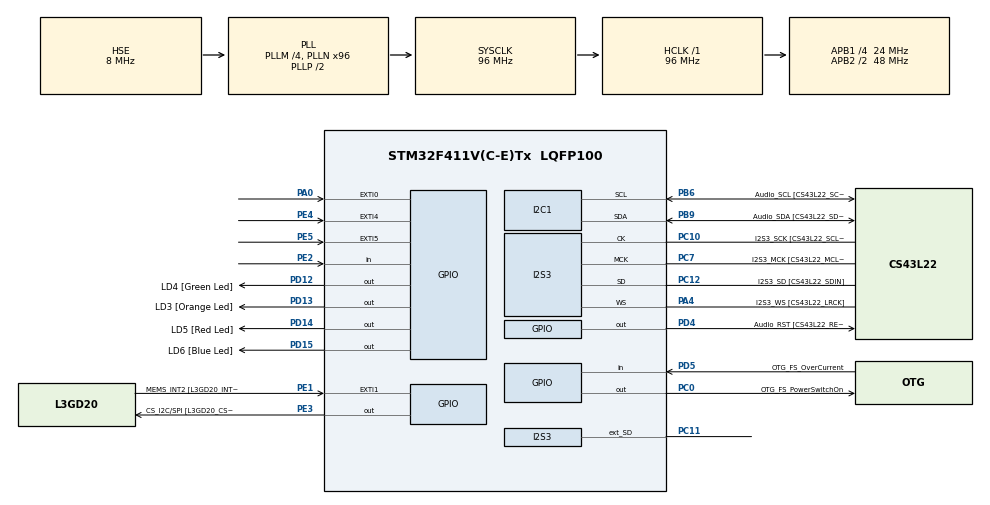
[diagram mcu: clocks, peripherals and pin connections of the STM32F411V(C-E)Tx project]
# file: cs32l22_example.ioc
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Dma.Request0=SPI3_TX
Dma.SPI3_TX.0.Direction=DMA_MEMORY_TO_PERIPH
Dma.SPI3_TX.0.FIFOMode=DMA_FIFOMODE_ENABLE
Dma.SPI3_TX.0.FIFOThreshold=DMA_FIFO_THRESHOLD_FULL
Dma.SPI3_TX.0.Instance=DMA1_Stream5
Dma.SPI3_TX.0.MemBurst=DMA_MBURST_SINGLE
Dma.SPI3_TX.0.MemDataAlignment=DMA_MDATAALIGN_HALFWORD
Dma.SPI3_TX.0.MemInc=DMA_MINC_ENABLE
Dma.SPI3_TX.0.Mode=DMA_CIRCULAR
Dma.SPI3_TX.0.PeriphBurst=DMA_PBURST_SINGLE
Dma.SPI3_TX.0.PeriphDataAlignment=DMA_PDATAALIGN_HALFWORD
Dma.SPI3_TX.0.PeriphInc=DMA_PINC_DISABLE
Dma.SPI3_TX.0.Priority=DMA_PRIORITY_LOW
I2S3.AudioFreq=I2S_AUDIOFREQ_48K
I2S3.ErrorAudioFreq=-2.34 %
I2S3.FullDuplexMode=I2S_FULLDUPLEXMODE_ENABLE
I2S3.Instance=SPI$Index
I2S3.RealAudioFreq=46.875 KHz
I2S3.VirtualMode=I2S_MODE_MASTER
Mcu.Family=STM32F4
Mcu.Name=STM32F411V(C-E)Tx
Mcu.Package=LQFP100
NVIC.DMA1_Stream5_IRQn=true\:0\:0\:false\:false\:true\:false\:true
NVIC.EXTI0_IRQn=true\:1\:0\:true\:false\:true\:true\:true
NVIC.FPU_IRQn=true\:0\:0\:false\:false\:true\:true\:false
NVIC.PriorityGroup=NVIC_PRIORITYGROUP_4
NVIC.TIM2_IRQn=true\:0\:0\:false\:false\:true\:true\:true
PA0-WKUP.Signal=GPXTI0
PA10.GPIO_Label=OTG_FS_ID
PA10.Signal=USB_OTG_FS_ID
PA11.GPIO_Label=OTG_FS_DM
PA11.Signal=USB_OTG_FS_DM
PA12.GPIO_Label=OTG_FS_DP
PA12.Signal=USB_OTG_FS_DP
PA13.GPIO_Label=SWDIO
PA13.Signal=SYS_JTMS-SWDIO
PA14.GPIO_Label=SWCLK
PA14.Signal=SYS_JTCK-SWCLK
PA4.GPIO_Label=I2S3_WS [CS43L22_LRCK]
PA4.GPIO_Mode=GPIO_MODE_AF_PP
PA4.GPIO_PuPd=GPIO_NOPULL
PA4.GPIO_Speed=GPIO_SPEED_FREQ_LOW
PA4.Mode=Full_Duplex_Master
PA4.Signal=I2S3_WS
PA5.GPIO_Label=SPI1_SCK [L3GD20_SC/SPC]
PA5.Signal=SPI1_SCK
PA6.GPIO_Label=SPI1_MISO [L3GD20_AS0/SDO]
PA6.Signal=SPI1_MISO
PA7.GPIO_Label=SPI1_MOSI [L3GD20_SDA/SDI/SDO]
PA7.Signal=SPI1_MOSI
PA9.GPIO_Label=VBUS_FS
PA9.Signal=USB_OTG_FS_VBUS
PB10.GPIO_Label=CLK_IN [MP45DT02_CLK]
PB10.Signal=I2S2_CK
PB12.Signal=I2S2_WS
PB3.GPIO_Label=SWO
PB3.Signal=SYS_JTDO-SWO
PB6.GPIO_Label=Audio_SCL [CS43L22_SCL]
PB6.GPIO_Mode=GPIO_MODE_AF_OD
PB6.GPIO_PuPd=GPIO_NOPULL
PB6.GPIO_Speed=GPIO_SPEED_FREQ_LOW
PB6.Mode=I2C
PB6.Signal=I2C1_SCL
PB9.GPIO_Label=Audio_SDA [CS43L22_SDA]
PB9.GPIO_Mode=GPIO_MODE_AF_OD
PB9.GPIO_PuPd=GPIO_NOPULL
PB9.GPIO_Speed=GPIO_SPEED_FREQ_LOW
PB9.Mode=I2C
PB9.Signal=I2C1_SDA
PC0.GPIO_Label=OTG_FS_PowerSwitchOn
PC0.PinState=GPIO_PIN_SET
PC0.Signal=GPIO_Output
PC10.GPIO_Label=I2S3_SCK [CS43L22_SCLK]
PC10.GPIO_Mode=GPIO_MODE_AF_PP
PC10.GPIO_PuPd=GPIO_NOPULL
PC10.GPIO_Speed=GPIO_SPEED_FREQ_LOW
PC10.Mode=Full_Duplex_Master
PC10.Signal=I2S3_CK
PC11.Mode=Full_Duplex_Master
PC11.Signal=I2S3_ext_SD
PC12.GPIO_Label=I2S3_SD [CS43L22_SDIN]
PC12.GPIO_Mode=GPIO_MODE_AF_PP
PC12.GPIO_PuPd=GPIO_NOPULL
PC12.GPIO_Speed=GPIO_SPEED_FREQ_LOW
PC12.Mode=Full_Duplex_Master
PC12.Signal=I2S3_SD
PC14-OSC32_IN.GPIO_Label=PC14-OSC32_IN
PC14-OSC32_IN.Signal=RCC_OSC32_IN
PC15-OSC32_OUT.GPIO_Label=PC15-OSC32_OUT
PC15-OSC32_OUT.Signal=RCC_OSC32_OUT
PC3.GPIO_Label=PDM_OUT [MP45DT02_DOUT]
PC3.Signal=I2S2_SD
PC7.GPIO_Label=I2S3_MCK [CS43L22_MCLK]
PC7.GPIO_Mode=GPIO_MODE_AF_PP
PC7.GPIO_PuPd=GPIO_NOPULL
PC7.GPIO_Speed=GPIO_SPEED_FREQ_LOW
PC7.Mode=Master_Clock_Activated
PC7.Signal=I2S3_MCK
PD12.GPIO_Label=LD4 [Green Led]
PD12.GPIO_PuPd=GPIO_NOPULL
PD12.GPIO_Speed=GPIO_SPEED_FREQ_LOW
PD12.Signal=GPIO_Output
PD13.GPIO_Label=LD3 [Orange Led]
PD13.GPIO_PuPd=GPIO_NOPULL
PD13.GPIO_Speed=GPIO_SPEED_FREQ_LOW
PD13.Signal=GPIO_Output
PD14.GPIO_Label=LD5 [Red Led]
PD14.GPIO_PuPd=GPIO_NOPULL
PD14.GPIO_Speed=GPIO_SPEED_FREQ_LOW
PD14.Signal=GPIO_Output
PD15.GPIO_Label=LD6 [Blue Led]
PD15.GPIO_PuPd=GPIO_NOPULL
PD15.GPIO_Speed=GPIO_SPEED_FREQ_LOW
PD15.Signal=GPIO_Output
PD4.GPIO_Label=Audio_RST [CS43L22_RESET]
PD4.GPIO_PuPd=GPIO_PULLDOWN
PD4.GPIO_Speed=GPIO_SPEED_FREQ_MEDIUM
PD4.Signal=GPIO_Output
PD5.GPIO_Label=OTG_FS_OverCurrent
PD5.Signal=GPIO_Input
PE1.GPIO_Label=MEMS_INT2 [L3GD20_INT2]
PE1.GPIO_ModeDefaultEXTI=GPIO_MODE_EVT_RISING
PE1.Signal=GPXTI1
PE2.Signal=GPIO_Input
PE3.GPIO_Label=CS_I2C/SPI [L3GD20_CS_I2C/SPI]
PE3.Signal=GPIO_Output
PE4.GPIO_ModeDefaultEXTI=GPIO_MODE_EVT_RISING
PE4.Signal=GPXTI4
PE5.GPIO_ModeDefaultEXTI=GPIO_MODE_EVT_RISING
PE5.Signal=GPXTI5
PH0\ -\ OSC_IN.GPIO_Label=PH0-OSC_IN
PH0\ -\ OSC_IN.Mode=HSE-External-Oscillator
PH0\ -\ OSC_IN.Signal=RCC_OSC_IN
PH1\ -\ OSC_OUT.GPIO_Label=PH1-OSC_OUT
PH1\ -\ OSC_OUT.Mode=HSE-External-Oscillator
PH1\ -\ OSC_OUT.Signal=RCC_OSC_OUT
ProjectManager.HeapSize=0x200
ProjectManager.StackSize=0x400
ProjectManager.TargetToolchain=STM32CubeIDE
RCC.48MHZClocksFreq_Value=24000000
RCC.AHBFreq_Value=96000000
RCC.APB1CLKDivider=RCC_HCLK_DIV4
RCC.APB1Freq_Value=24000000
RCC.APB1TimFreq_Value=48000000
RCC.APB2CLKDivider=RCC_HCLK_DIV2
RCC.APB2Freq_Value=48000000
RCC.APB2TimFreq_Value=96000000
RCC.CortexFreq_Value=96000000
RCC.HCLKFreq_Value=96000000
RCC.HSE_VALUE=8000000
RCC.HSI_VALUE=16000000
RCC.LSE_VALUE=32768
RCC.PLLI2SM=4
RCC.PLLI2SN=168
RCC.PLLM=4
RCC.PLLN=96
RCC.PLLQ=8
RCC.PLLSourceVirtual=RCC_PLLSOURCE_HSE
RCC.SYSCLKFreq_VALUE=96000000
RCC.SYSCLKSource=RCC_SYSCLKSOURCE_PLLCLK
RCC.VCOOutputFreq_Value=192000000
TIM2.Period=500-1
TIM2.Prescaler=2-1
TIM2.TIM_MasterOutputTrigger=TIM_TRGO_UPDATE
VP_TIM2_VS_ClockSourceINT.Mode=Internal
board=STM32F411E-DISCO

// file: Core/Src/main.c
/* USER CODE BEGIN Header */
/**
  ******************************************************************************
  * @file           : main.c
  * @brief          : Main program body
  ******************************************************************************
  * @attention
  *
  * Copyright (c) 2022 STMicroelectronics.
  * All rights reserved.
  *
  * This software is licensed under terms that can be found in the LICENSE file
  * in the root directory of this software component.
  * If no LICENSE file comes with this software, it is provided AS-IS.
  *
  ******************************************************************************
  */
/* USER CODE END Header */
#include "main.h"

/* USER CODE BEGIN PTD */
#include <stdlib.h>
#include "cs43l22.h"

/* USER CODE END PTD */

I2C_HandleTypeDef hi2c1;

I2S_HandleTypeDef hi2s3;
DMA_HandleTypeDef hdma_spi3_tx;

TIM_HandleTypeDef htim2;

void SystemClock_Config(void);
static void MX_GPIO_Init(void);
static void MX_I2C1_Init(void);
static void MX_DMA_Init(void);
static void MX_I2S3_Init(void);
static void MX_TIM2_Init(void);

/* USER CODE BEGIN 0 */

extern const size_t audioSampleLength;
extern const uint16_t audioSample[];

typedef enum {
	STOPPED = 0,
	PLAYING
} playerState_t;

playerState_t playerState = STOPPED;

/* USER CODE END 0 */

int main(void)
{

  /* MCU Configuration--------------------------------------------------------*/

  /* Reset of all peripherals, Initializes the Flash interface and the Systick. */
  HAL_Init();

  /* Configure the system clock */
  SystemClock_Config();

  /* Initialize all configured peripherals */
  MX_GPIO_Init();
  MX_I2C1_Init();
  MX_DMA_Init();
  MX_I2S3_Init();
  MX_TIM2_Init();
  /* USER CODE BEGIN 2 */

  CS43_Init(hi2c1, CS43_MODE_I2S);

  if (CS43_GetId() != 0xe3)
	  Error_Handler();

  HAL_GPIO_WritePin(GPIOD, LD3_Pin, GPIO_PIN_SET);

  CS43_Enable_RightLeft(CS43_RIGHT_LEFT);
  CS43_SetVolume(30);

  /* USER CODE END 2 */

  /* Infinite loop */
  while (1)
  {

  }
}

void SystemClock_Config(void)
{
  RCC_OscInitTypeDef RCC_OscInitStruct = {0};
  RCC_ClkInitTypeDef RCC_ClkInitStruct = {0};

  /** Configure the main internal regulator output voltage
  */
  __HAL_RCC_PWR_CLK_ENABLE();
  __HAL_PWR_VOLTAGESCALING_CONFIG(PWR_REGULATOR_VOLTAGE_SCALE1);
  /** Initializes the RCC Oscillators according to the specified parameters
  * in the RCC_OscInitTypeDef structure.
  */
  RCC_OscInitStruct.OscillatorType = RCC_OSCILLATORTYPE_HSE;
  RCC_OscInitStruct.HSEState = RCC_HSE_ON;
  RCC_OscInitStruct.PLL.PLLState = RCC_PLL_ON;
  RCC_OscInitStruct.PLL.PLLSource = RCC_PLLSOURCE_HSE;
  RCC_OscInitStruct.PLL.PLLM = 4;
  RCC_OscInitStruct.PLL.PLLN = 96;
  RCC_OscInitStruct.PLL.PLLP = RCC_PLLP_DIV2;
  RCC_OscInitStruct.PLL.PLLQ = 8;
  if (HAL_RCC_OscConfig(&RCC_OscInitStruct) != HAL_OK)
  {
    Error_Handler();
  }
  /** Initializes the CPU, AHB and APB buses clocks
  */
  RCC_ClkInitStruct.ClockType = RCC_CLOCKTYPE_HCLK|RCC_CLOCKTYPE_SYSCLK
                              |RCC_CLOCKTYPE_PCLK1|RCC_CLOCKTYPE_PCLK2;
  RCC_ClkInitStruct.SYSCLKSource = RCC_SYSCLKSOURCE_PLLCLK;
  RCC_ClkInitStruct.AHBCLKDivider = RCC_SYSCLK_DIV1;
  RCC_ClkInitStruct.APB1CLKDivider = RCC_HCLK_DIV4;
  RCC_ClkInitStruct.APB2CLKDivider = RCC_HCLK_DIV2;

  if (HAL_RCC_ClockConfig(&RCC_ClkInitStruct, FLASH_LATENCY_3) != HAL_OK)
  {
    Error_Handler();
  }
}

static void MX_I2C1_Init(void)
{

  hi2c1.Instance = I2C1;
  hi2c1.Init.ClockSpeed = 100000;
  hi2c1.Init.DutyCycle = I2C_DUTYCYCLE_2;
  hi2c1.Init.OwnAddress1 = 0;
  hi2c1.Init.AddressingMode = I2C_ADDRESSINGMODE_7BIT;
  hi2c1.Init.DualAddressMode = I2C_DUALADDRESS_DISABLE;
  hi2c1.Init.OwnAddress2 = 0;
  hi2c1.Init.GeneralCallMode = I2C_GENERALCALL_DISABLE;
  hi2c1.Init.NoStretchMode = I2C_NOSTRETCH_DISABLE;
  if (HAL_I2C_Init(&hi2c1) != HAL_OK)
  {
    Error_Handler();
  }

}

static void MX_I2S3_Init(void)
{

  hi2s3.Instance = SPI3;
  hi2s3.Init.Mode = I2S_MODE_MASTER_TX;
  hi2s3.Init.Standard = I2S_STANDARD_PHILIPS;
  hi2s3.Init.DataFormat = I2S_DATAFORMAT_16B;
  hi2s3.Init.MCLKOutput = I2S_MCLKOUTPUT_ENABLE;
  hi2s3.Init.AudioFreq = I2S_AUDIOFREQ_48K;
  hi2s3.Init.CPOL = I2S_CPOL_LOW;
  hi2s3.Init.ClockSource = I2S_CLOCK_PLL;
  hi2s3.Init.FullDuplexMode = I2S_FULLDUPLEXMODE_ENABLE;
  if (HAL_I2S_Init(&hi2s3) != HAL_OK)
  {
    Error_Handler();
  }

}

static void MX_TIM2_Init(void)
{

  TIM_ClockConfigTypeDef sClockSourceConfig = {0};
  TIM_MasterConfigTypeDef sMasterConfig = {0};

  htim2.Instance = TIM2;
  htim2.Init.Prescaler = 2-1;
  htim2.Init.CounterMode = TIM_COUNTERMODE_UP;
  htim2.Init.Period = 500-1;
  htim2.Init.ClockDivision = TIM_CLOCKDIVISION_DIV1;
  htim2.Init.AutoReloadPreload = TIM_AUTORELOAD_PRELOAD_DISABLE;
  if (HAL_TIM_Base_Init(&htim2) != HAL_OK)
  {
    Error_Handler();
  }
  sClockSourceConfig.ClockSource = TIM_CLOCKSOURCE_INTERNAL;
  if (HAL_TIM_ConfigClockSource(&htim2, &sClockSourceConfig) != HAL_OK)
  {
    Error_Handler();
  }
  sMasterConfig.MasterOutputTrigger = TIM_TRGO_UPDATE;
  sMasterConfig.MasterSlaveMode = TIM_MASTERSLAVEMODE_DISABLE;
  if (HAL_TIMEx_MasterConfigSynchronization(&htim2, &sMasterConfig) != HAL_OK)
  {
    Error_Handler();
  }

}

static void MX_DMA_Init(void)
{

  /* DMA controller clock enable */
  __HAL_RCC_DMA1_CLK_ENABLE();

  /* DMA interrupt init */
  /* DMA1_Stream5_IRQn interrupt configuration */
  HAL_NVIC_SetPriority(DMA1_Stream5_IRQn, 0, 0);
  HAL_NVIC_EnableIRQ(DMA1_Stream5_IRQn);

}

static void MX_GPIO_Init(void)
{
  GPIO_InitTypeDef GPIO_InitStruct = {0};

  /* GPIO Ports Clock Enable */
  __HAL_RCC_GPIOE_CLK_ENABLE();
  __HAL_RCC_GPIOC_CLK_ENABLE();
  __HAL_RCC_GPIOH_CLK_ENABLE();
  __HAL_RCC_GPIOA_CLK_ENABLE();
  __HAL_RCC_GPIOB_CLK_ENABLE();
  __HAL_RCC_GPIOD_CLK_ENABLE();

  /*Configure GPIO pin Output Level */
  HAL_GPIO_WritePin(CS_I2C_SPI_GPIO_Port, CS_I2C_SPI_Pin, GPIO_PIN_RESET);

  /*Configure GPIO pin Output Level */
  HAL_GPIO_WritePin(OTG_FS_PowerSwitchOn_GPIO_Port, OTG_FS_PowerSwitchOn_Pin, GPIO_PIN_SET);

  /*Configure GPIO pin Output Level */
  HAL_GPIO_WritePin(GPIOD, LD4_Pin|LD3_Pin|LD5_Pin|LD6_Pin
                          |Audio_RST_Pin, GPIO_PIN_RESET);

  /*Configure GPIO pin : PE2 */
  GPIO_InitStruct.Pin = GPIO_PIN_2;
  GPIO_InitStruct.Mode = GPIO_MODE_INPUT;
  GPIO_InitStruct.Pull = GPIO_NOPULL;
  HAL_GPIO_Init(GPIOE, &GPIO_InitStruct);

  /*Configure GPIO pin : CS_I2C_SPI_Pin */
  GPIO_InitStruct.Pin = CS_I2C_SPI_Pin;
  GPIO_InitStruct.Mode = GPIO_MODE_OUTPUT_PP;
  GPIO_InitStruct.Pull = GPIO_NOPULL;
  GPIO_InitStruct.Speed = GPIO_SPEED_FREQ_LOW;
  HAL_GPIO_Init(CS_I2C_SPI_GPIO_Port, &GPIO_InitStruct);

  /*Configure GPIO pins : PE4 PE5 MEMS_INT2_Pin */
  GPIO_InitStruct.Pin = GPIO_PIN_4|GPIO_PIN_5|MEMS_INT2_Pin;
  GPIO_InitStruct.Mode = GPIO_MODE_EVT_RISING;
  GPIO_InitStruct.Pull = GPIO_NOPULL;
  HAL_GPIO_Init(GPIOE, &GPIO_InitStruct);

  /*Configure GPIO pin : OTG_FS_PowerSwitchOn_Pin */
  GPIO_InitStruct.Pin = OTG_FS_PowerSwitchOn_Pin;
  GPIO_InitStruct.Mode = GPIO_MODE_OUTPUT_PP;
  GPIO_InitStruct.Pull = GPIO_NOPULL;
  GPIO_InitStruct.Speed = GPIO_SPEED_FREQ_LOW;
  HAL_GPIO_Init(OTG_FS_PowerSwitchOn_GPIO_Port, &GPIO_InitStruct);

  /*Configure GPIO pin : PDM_OUT_Pin */
  GPIO_InitStruct.Pin = PDM_OUT_Pin;
  GPIO_InitStruct.Mode = GPIO_MODE_AF_PP;
  GPIO_InitStruct.Pull = GPIO_NOPULL;
  GPIO_InitStruct.Speed = GPIO_SPEED_FREQ_LOW;
  GPIO_InitStruct.Alternate = GPIO_AF5_SPI2;
  HAL_GPIO_Init(PDM_OUT_GPIO_Port, &GPIO_InitStruct);

  /*Configure GPIO pin : PA0 */
  GPIO_InitStruct.Pin = GPIO_PIN_0;
  GPIO_InitStruct.Mode = GPIO_MODE_IT_RISING;
  GPIO_InitStruct.Pull = GPIO_NOPULL;
  HAL_GPIO_Init(GPIOA, &GPIO_InitStruct);

  /*Configure GPIO pins : SPI1_SCK_Pin SPI1_MISO_Pin SPI1_MOSI_Pin */
  GPIO_InitStruct.Pin = SPI1_SCK_Pin|SPI1_MISO_Pin|SPI1_MOSI_Pin;
  GPIO_InitStruct.Mode = GPIO_MODE_AF_PP;
  GPIO_InitStruct.Pull = GPIO_NOPULL;
  GPIO_InitStruct.Speed = GPIO_SPEED_FREQ_VERY_HIGH;
  GPIO_InitStruct.Alternate = GPIO_AF5_SPI1;
  HAL_GPIO_Init(GPIOA, &GPIO_InitStruct);

  /*Configure GPIO pins : CLK_IN_Pin PB12 */
  GPIO_InitStruct.Pin = CLK_IN_Pin|GPIO_PIN_12;
  GPIO_InitStruct.Mode = GPIO_MODE_AF_PP;
  GPIO_InitStruct.Pull = GPIO_NOPULL;
  GPIO_InitStruct.Speed = GPIO_SPEED_FREQ_LOW;
  GPIO_InitStruct.Alternate = GPIO_AF5_SPI2;
  HAL_GPIO_Init(GPIOB, &GPIO_InitStruct);

  /*Configure GPIO pins : LD4_Pin LD3_Pin LD5_Pin LD6_Pin */
  GPIO_InitStruct.Pin = LD4_Pin|LD3_Pin|LD5_Pin|LD6_Pin;
  GPIO_InitStruct.Mode = GPIO_MODE_OUTPUT_PP;
  GPIO_InitStruct.Pull = GPIO_NOPULL;
  GPIO_InitStruct.Speed = GPIO_SPEED_FREQ_LOW;
  HAL_GPIO_Init(GPIOD, &GPIO_InitStruct);

  /*Configure GPIO pin : VBUS_FS_Pin */
  GPIO_InitStruct.Pin = VBUS_FS_Pin;
  GPIO_InitStruct.Mode = GPIO_MODE_INPUT;
  GPIO_InitStruct.Pull = GPIO_NOPULL;
  HAL_GPIO_Init(VBUS_FS_GPIO_Port, &GPIO_InitStruct);

  /*Configure GPIO pins : OTG_FS_ID_Pin OTG_FS_DM_Pin OTG_FS_DP_Pin */
  GPIO_InitStruct.Pin = OTG_FS_ID_Pin|OTG_FS_DM_Pin|OTG_FS_DP_Pin;
  GPIO_InitStruct.Mode = GPIO_MODE_AF_PP;
  GPIO_InitStruct.Pull = GPIO_NOPULL;
  GPIO_InitStruct.Speed = GPIO_SPEED_FREQ_VERY_HIGH;
  GPIO_InitStruct.Alternate = GPIO_AF10_OTG_FS;
  HAL_GPIO_Init(GPIOA, &GPIO_InitStruct);

  /*Configure GPIO pin : Audio_RST_Pin */
  GPIO_InitStruct.Pin = Audio_RST_Pin;
  GPIO_InitStruct.Mode = GPIO_MODE_OUTPUT_PP;
  GPIO_InitStruct.Pull = GPIO_PULLDOWN;
  GPIO_InitStruct.Speed = GPIO_SPEED_FREQ_MEDIUM;
  HAL_GPIO_Init(Audio_RST_GPIO_Port, &GPIO_InitStruct);

  /*Configure GPIO pin : OTG_FS_OverCurrent_Pin */
  GPIO_InitStruct.Pin = OTG_FS_OverCurrent_Pin;
  GPIO_InitStruct.Mode = GPIO_MODE_INPUT;
  GPIO_InitStruct.Pull = GPIO_NOPULL;
  HAL_GPIO_Init(OTG_FS_OverCurrent_GPIO_Port, &GPIO_InitStruct);

  /* EXTI interrupt init*/
  HAL_NVIC_SetPriority(EXTI0_IRQn, 1, 0);
  HAL_NVIC_EnableIRQ(EXTI0_IRQn);

}

/* USER CODE BEGIN 4 */

void HAL_GPIO_EXTI_Callback(uint16_t GPIO_Pin)
{
	UNUSED(GPIO_Pin);
	HAL_Delay(500);
	switch(playerState) {
		case STOPPED:
		{
			CS43_Start();
			HAL_TIM_Base_Start_IT(&htim2);

			playerState = PLAYING;
			break;
		}
		case PLAYING:
		{
			HAL_TIM_Base_Stop_IT(&htim2);
			CS43_Stop();
			HAL_GPIO_WritePin(GPIOD, LD6_Pin, GPIO_PIN_RESET);
			playerState = STOPPED;
			break;
		}
	}
}

void HAL_TIM_PeriodElapsedCallback(TIM_HandleTypeDef *htim)
{
	if (htim->Instance != TIM2)
		return;

#ifdef WITH_SINE
	static const uint16_t coef = (0xFFFF-1)/2;
	uint16_t point = (uint16_t)(0.1*coef*getPointSineOscillator(&osc1));
#endif

	static uint16_t outputData[2];
	static size_t count = 0;
	static size_t index = 0;
/*
	outputData[0] = (uint16_t)(audioSample[index]   << 8 | 0x00);
	outputData[1] = (uint16_t)(audioSample[index+1] << 8 | 0x00);
*/
	outputData[0] = audioSample[index];
	outputData[1] = audioSample[index];

	HAL_I2S_Transmit_DMA(&hi2s3, outputData, 2);

	if (++count == 48000)
	{
	  count = 0;
	  HAL_GPIO_TogglePin(GPIOD, LD6_Pin);
	}
	index+=1;
	if (index >= audioSampleLength)
	{
		index = 0;
	}
}

/* USER CODE END 4 */

void Error_Handler(void)
{
  /* USER CODE BEGIN Error_Handler_Debug */
  /* User can add his own implementation to report the HAL error return state */
  __disable_irq();
  HAL_GPIO_WritePin(GPIOD, LD5_Pin, GPIO_PIN_SET);
  while (1)
  {

  }
  /* USER CODE END Error_Handler_Debug */
}
